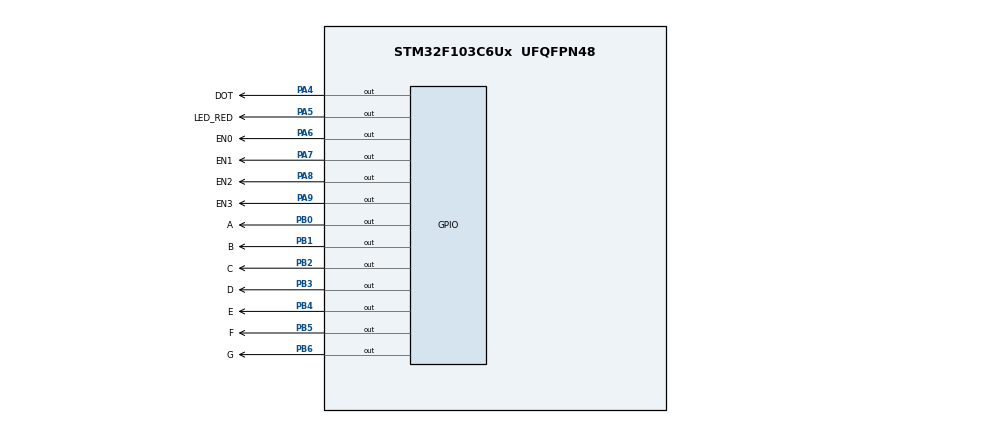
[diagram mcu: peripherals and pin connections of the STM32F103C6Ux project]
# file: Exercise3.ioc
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Mcu.Family=STM32F1
Mcu.Name=STM32F103C6Ux
Mcu.Package=UFQFPN48
NVIC.PriorityGroup=NVIC_PRIORITYGROUP_4
NVIC.TIM2_IRQn=true\:0\:0\:false\:false\:true\:true\:true
PA4.GPIO_Label=DOT
PA4.Signal=GPIO_Output
PA5.GPIO_Label=LED_RED
PA5.Signal=GPIO_Output
PA6.GPIO_Label=EN0
PA6.Signal=GPIO_Output
PA7.GPIO_Label=EN1
PA7.Signal=GPIO_Output
PA8.GPIO_Label=EN2
PA8.Signal=GPIO_Output
PA9.GPIO_Label=EN3
PA9.Signal=GPIO_Output
PB0.GPIO_Label=A
PB0.Signal=GPIO_Output
PB1.GPIO_Label=B
PB1.Signal=GPIO_Output
PB2.GPIO_Label=C
PB2.Signal=GPIO_Output
PB3.GPIO_Label=D
PB3.Signal=GPIO_Output
PB4.GPIO_Label=E
PB4.Signal=GPIO_Output
PB5.GPIO_Label=F
PB5.Signal=GPIO_Output
PB6.GPIO_Label=G
PB6.Signal=GPIO_Output
ProjectManager.HeapSize=0x200
ProjectManager.StackSize=0x400
ProjectManager.TargetToolchain=STM32CubeIDE
RCC.APB1Freq_Value=8000000
RCC.APB2Freq_Value=8000000
TIM2.Period=9
TIM2.Prescaler=7999
VP_SYS_VS_ND.Mode=No_Debug
VP_TIM2_VS_ClockSourceINT.Mode=Internal
board=custom

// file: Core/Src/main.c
/* USER CODE BEGIN Header */
/**
  ******************************************************************************
  * @file           : main.c
  * @brief          : Main program body
  ******************************************************************************
  * @attention
  *
  * <h2><center>&copy; Copyright (c) 2025 STMicroelectronics.
  * All rights reserved.</center></h2>
  *
  * This software component is licensed by ST under BSD 3-Clause license,
  * the "License"; You may not use this file except in compliance with the
  * License. You may obtain a copy of the License at:
  *                        opensource.org/licenses/BSD-3-Clause
  *
  ******************************************************************************
  */
/* USER CODE END Header */
#include "main.h"

/* USER CODE BEGIN Includes */
#include "software_timer.h"
/* USER CODE END Includes */

TIM_HandleTypeDef htim2;

/* USER CODE BEGIN PV */
const int MAX_LED = 4;
int index_led = 0;
int led_buffer[4] = {1,2,3,4};
/* USER CODE END PV */

void SystemClock_Config(void);
static void MX_GPIO_Init(void);
static void MX_TIM2_Init(void);

uint8_t segmentBinary[10] = {
    0b00111111, // 0
    0b00000110, // 1
    0b01011011, // 2
    0b01001111, // 3
    0b01100110, // 4
    0b01101101, // 5
    0b01111101, // 6
    0b00000111, // 7
    0b01111111, // 8
    0b01101111  // 9
};

void display7SEG(int num) {
	uint8_t display = segmentBinary[num];
	HAL_GPIO_WritePin(A_GPIO_Port, A_Pin, (display & 0b00000001) ? RESET : SET);
	HAL_GPIO_WritePin(B_GPIO_Port, B_Pin, (display & 0b00000010) ? RESET : SET);
	HAL_GPIO_WritePin(C_GPIO_Port, C_Pin, (display & 0b00000100) ? RESET : SET);
	HAL_GPIO_WritePin(D_GPIO_Port, D_Pin, (display & 0b00001000) ? RESET : SET);
	HAL_GPIO_WritePin(E_GPIO_Port, E_Pin, (display & 0b00010000) ? RESET : SET);
	HAL_GPIO_WritePin(F_GPIO_Port, F_Pin, (display & 0b00100000) ? RESET : SET);
	HAL_GPIO_WritePin(G_GPIO_Port, G_Pin, (display & 0b01000000) ? RESET : SET);
}

void enable7SEG(int state) {
	HAL_GPIO_WritePin(EN0_GPIO_Port, EN0_Pin, SET);
	HAL_GPIO_WritePin(EN1_GPIO_Port, EN1_Pin, SET);
	HAL_GPIO_WritePin(EN2_GPIO_Port, EN2_Pin, SET);
	HAL_GPIO_WritePin(EN3_GPIO_Port, EN3_Pin, SET);

	switch (state) {
		case 0: HAL_GPIO_WritePin(EN0_GPIO_Port, EN0_Pin, RESET); break;
		case 1: HAL_GPIO_WritePin(EN1_GPIO_Port, EN1_Pin, RESET); break;
		case 2: HAL_GPIO_WritePin(EN2_GPIO_Port, EN2_Pin, RESET); break;
		case 3: HAL_GPIO_WritePin(EN3_GPIO_Port, EN3_Pin, RESET); break;
		default: break;
	}
}

void update7SEG(int index) {
	switch (index) {
		case 0:
			display7SEG(led_buffer[0]);
			enable7SEG(0);
			break;
		case 1:
			display7SEG(led_buffer[1]);
			enable7SEG(1);
			break;
		case 2:
			display7SEG(led_buffer[2]);
			enable7SEG(2);
			break;
		case 3:
			display7SEG(led_buffer[3]);
			enable7SEG(3);
			break;
		default:
			break;
	}
}

int main(void)
{

  /* MCU Configuration--------------------------------------------------------*/

  /* Reset of all peripherals, Initializes the Flash interface and the Systick. */
  HAL_Init();

  /* Configure the system clock */
  SystemClock_Config();

  /* Initialize all configured peripherals */
  MX_GPIO_Init();
  MX_TIM2_Init();
  /* USER CODE BEGIN 2 */
  HAL_TIM_Base_Start_IT(&htim2);
  /* USER CODE END 2 */

  setTimer1(100);
  setTimer2(25);
  setTimer3(100);
  /* Infinite loop */
  while (1)
  {

  }
}

void SystemClock_Config(void)
{
  RCC_OscInitTypeDef RCC_OscInitStruct = {0};
  RCC_ClkInitTypeDef RCC_ClkInitStruct = {0};

  /** Initializes the RCC Oscillators according to the specified parameters
  * in the RCC_OscInitTypeDef structure.
  */
  RCC_OscInitStruct.OscillatorType = RCC_OSCILLATORTYPE_HSI;
  RCC_OscInitStruct.HSIState = RCC_HSI_ON;
  RCC_OscInitStruct.HSICalibrationValue = RCC_HSICALIBRATION_DEFAULT;
  RCC_OscInitStruct.PLL.PLLState = RCC_PLL_NONE;
  if (HAL_RCC_OscConfig(&RCC_OscInitStruct) != HAL_OK)
  {
    Error_Handler();
  }
  /** Initializes the CPU, AHB and APB buses clocks
  */
  RCC_ClkInitStruct.ClockType = RCC_CLOCKTYPE_HCLK|RCC_CLOCKTYPE_SYSCLK
                              |RCC_CLOCKTYPE_PCLK1|RCC_CLOCKTYPE_PCLK2;
  RCC_ClkInitStruct.SYSCLKSource = RCC_SYSCLKSOURCE_HSI;
  RCC_ClkInitStruct.AHBCLKDivider = RCC_SYSCLK_DIV1;
  RCC_ClkInitStruct.APB1CLKDivider = RCC_HCLK_DIV1;
  RCC_ClkInitStruct.APB2CLKDivider = RCC_HCLK_DIV1;

  if (HAL_RCC_ClockConfig(&RCC_ClkInitStruct, FLASH_LATENCY_0) != HAL_OK)
  {
    Error_Handler();
  }
}

static void MX_TIM2_Init(void)
{

  TIM_ClockConfigTypeDef sClockSourceConfig = {0};
  TIM_MasterConfigTypeDef sMasterConfig = {0};

  htim2.Instance = TIM2;
  htim2.Init.Prescaler = 7999;
  htim2.Init.CounterMode = TIM_COUNTERMODE_UP;
  htim2.Init.Period = 9;
  htim2.Init.ClockDivision = TIM_CLOCKDIVISION_DIV1;
  htim2.Init.AutoReloadPreload = TIM_AUTORELOAD_PRELOAD_DISABLE;
  if (HAL_TIM_Base_Init(&htim2) != HAL_OK)
  {
    Error_Handler();
  }
  sClockSourceConfig.ClockSource = TIM_CLOCKSOURCE_INTERNAL;
  if (HAL_TIM_ConfigClockSource(&htim2, &sClockSourceConfig) != HAL_OK)
  {
    Error_Handler();
  }
  sMasterConfig.MasterOutputTrigger = TIM_TRGO_RESET;
  sMasterConfig.MasterSlaveMode = TIM_MASTERSLAVEMODE_DISABLE;
  if (HAL_TIMEx_MasterConfigSynchronization(&htim2, &sMasterConfig) != HAL_OK)
  {
    Error_Handler();
  }

}

static void MX_GPIO_Init(void)
{
  GPIO_InitTypeDef GPIO_InitStruct = {0};

  /* GPIO Ports Clock Enable */
  __HAL_RCC_GPIOA_CLK_ENABLE();
  __HAL_RCC_GPIOB_CLK_ENABLE();

  /*Configure GPIO pin Output Level */
  HAL_GPIO_WritePin(GPIOA, DOT_Pin|LED_RED_Pin|EN0_Pin|EN1_Pin
                          |EN2_Pin|EN3_Pin, GPIO_PIN_RESET);

  /*Configure GPIO pin Output Level */
  HAL_GPIO_WritePin(GPIOB, A_Pin|B_Pin|C_Pin|D_Pin
                          |E_Pin|F_Pin|G_Pin, GPIO_PIN_RESET);

  /*Configure GPIO pins : DOT_Pin LED_RED_Pin EN0_Pin EN1_Pin
                           EN2_Pin EN3_Pin */
  GPIO_InitStruct.Pin = DOT_Pin|LED_RED_Pin|EN0_Pin|EN1_Pin
                          |EN2_Pin|EN3_Pin;
  GPIO_InitStruct.Mode = GPIO_MODE_OUTPUT_PP;
  GPIO_InitStruct.Pull = GPIO_NOPULL;
  GPIO_InitStruct.Speed = GPIO_SPEED_FREQ_LOW;
  HAL_GPIO_Init(GPIOA, &GPIO_InitStruct);

  /*Configure GPIO pins : A_Pin B_Pin C_Pin D_Pin
                           E_Pin F_Pin G_Pin */
  GPIO_InitStruct.Pin = A_Pin|B_Pin|C_Pin|D_Pin
                          |E_Pin|F_Pin|G_Pin;
  GPIO_InitStruct.Mode = GPIO_MODE_OUTPUT_PP;
  GPIO_InitStruct.Pull = GPIO_NOPULL;
  GPIO_InitStruct.Speed = GPIO_SPEED_FREQ_LOW;
  HAL_GPIO_Init(GPIOB, &GPIO_InitStruct);

}

/* USER CODE BEGIN 4 */
void HAL_TIM_PeriodElapsedCallback(TIM_HandleTypeDef *htim) {
	timerRun();

	if (timer1_flag == 1) {
		setTimer1(100);
		HAL_GPIO_TogglePin(LED_RED_GPIO_Port, LED_RED_Pin);
	}

	if (timer2_flag == 1) {
		setTimer2(25);
		update7SEG(index_led);
		index_led++;
		if (index_led >= MAX_LED) index_led = 0;
	}

	if (timer3_flag == 1) {
		setTimer3(100);
		HAL_GPIO_TogglePin(DOT_GPIO_Port, DOT_Pin);
	}
}
/* USER CODE END 4 */

void Error_Handler(void)
{
  __disable_irq();
  while (1)
  {
  }
}

/************************ (C) COPYRIGHT STMicroelectronics *****END OF FILE****/
